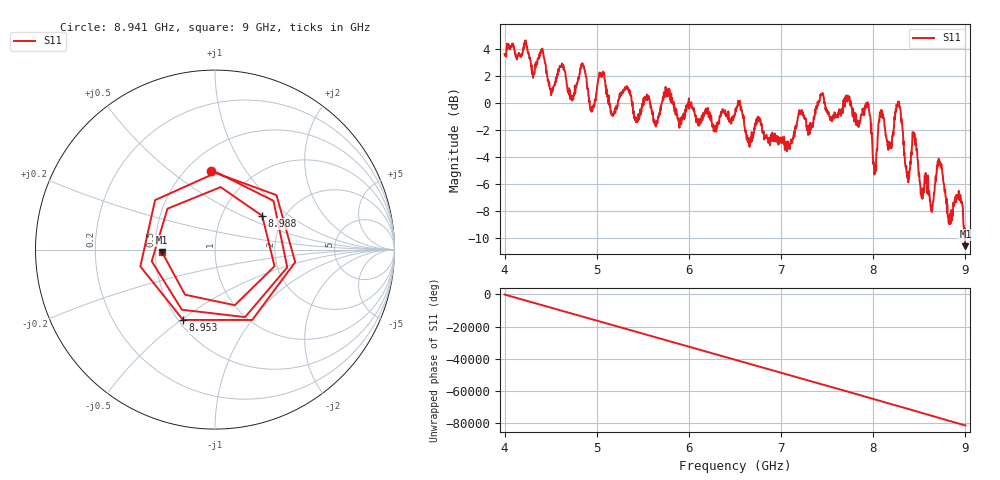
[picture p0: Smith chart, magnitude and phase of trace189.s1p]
! Created with skrf 1.8.0 (http://scikit-rf.org).
# Hz S RI R 50.0
!freq ReS11 ImS11
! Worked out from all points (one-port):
!   1601 points, 4 GHz to 9 GHz, reference 50 ohm
!   lowest |S11| = -10.6 dB at 9 GHz (marker M1), VSWR 1.84, Z = 27.2 - j0.846 ohm
!   |S11| at or under -10 dB: 8.995367 GHz to end of sweep
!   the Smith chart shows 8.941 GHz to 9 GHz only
!   S11 on the Smith chart (normalised r, x): 8.941 GHz: 0.65, +0.71; 8.953 GHz: 0.53, -0.51; 8.988 GHz: 1.55, +0.65; 9 GHz: 0.54, -0.02
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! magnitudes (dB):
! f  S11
! 4 GHz  3.6
! 4.406 GHz  3.9
! 4.512 GHz  0.8
! 4.625 GHz  2.7
! 4.728 GHz  0.4
! 4.853 GHz  2.7
! 4.95 GHz  -0.6
! 5.053 GHz  1.9
! 5.169 GHz  -0.9
! 5.25 GHz  0.7
! 5.875 GHz  -1.1
! 6.5 GHz  -0.8
! 7.125 GHz  -2.6
! 7.75 GHz  -0.2
! 7.944 GHz  -0.3
! 8.019 GHz  -5.2
! 8.081 GHz  -0.9
! 8.178 GHz  -3.2
! 8.272 GHz  0.0
! 8.375 GHz  -5.1
! 8.444 GHz  -2.5
! 8.628 GHz  -8.0
! 8.716 GHz  -4.3
! 8.825 GHz  -9.0
! 8.941 GHz  -7.2
! 8.953 GHz  -7.3
! 8.988 GHz  -9.8
! 9 GHz  -10.6
